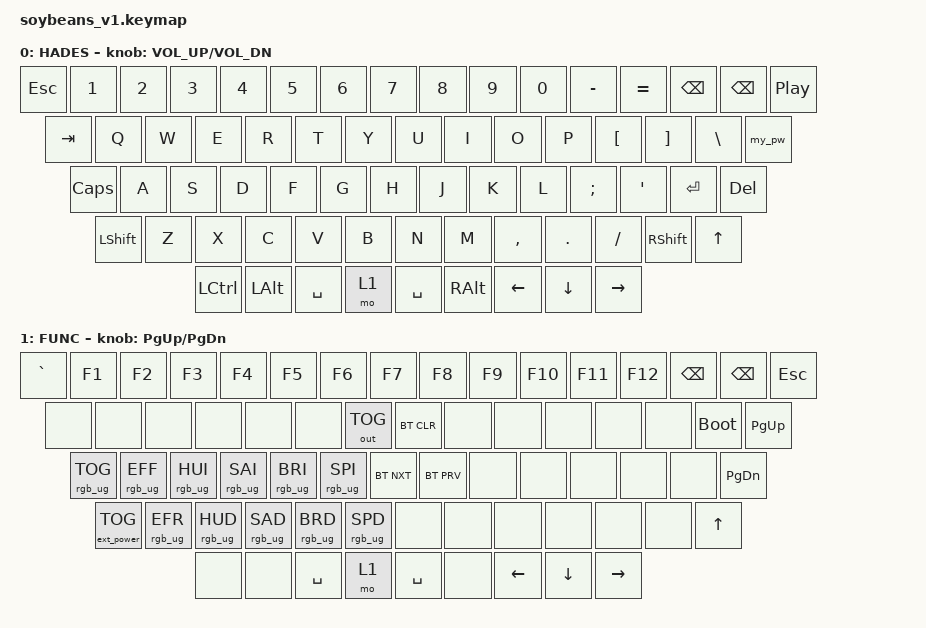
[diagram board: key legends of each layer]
/*
# Copyright (c) 2021 The ZMK Contributors
*
* SPDX-License-Identifier: MIT
*/

#include <behaviors.dtsi>
#include <dt-bindings/zmk/keys.h>
#include <dt-bindings/zmk/rgb.h>
#include <dt-bindings/zmk/bt.h>
#include <dt-bindings/zmk/outputs.h>
#include <dt-bindings/zmk/ext_power.h>

/ {
    macros {
        my_pw: my_pw {
            label = "My_password";
            compatible = "zmk,behavior-macro";
            #binding-cells = <0>;
            bindings
                = <&macro_press &kp LSHFT>
                , <&macro_tap &kp T>
                , <&macro_release &kp LSHFT>
                , <&macro_tap &kp U>
                , <&macro_tap &kp M>
                , <&macro_tap &kp O>
                , <&macro_tap &kp T>
                , <&macro_tap &kp D>
                , <&macro_tap &kp E>
                , <&macro_tap &kp N>
                , <&macro_tap &kp N1>
                , <&macro_tap &kp N1>
                , <&macro_tap &kp ENTER>
                ;
        };
    };

	keymap {
		compatible = "zmk,keymap";

		default_layer {
            label = " HADES";
			bindings = <
               	&kp ESC &kp N1 &kp N2 &kp N3 &kp N4 &kp N5 &kp N6           &kp N7 &kp N8 &kp N9 &kp N0 &kp MINUS &kp EQUAL  &kp BSPC  &kp BSPC   &kp C_PLAY_PAUSE
			     &kp TAB     &kp Q   &kp W  &kp E  &kp R  &kp T                &kp Y   &kp U  &kp I  &kp O  &kp P   &kp LBKT  &kp RBKT  &kp BSLH       &my_pw
			     &kp CAPS      &kp A  &kp S  &kp D  &kp F  &kp G               &kp H    &kp J  &kp K  &kp L  &kp SEMI   &kp APOS     &kp ENTER           &kp DEL
			     &kp LSHIFT      &kp Z  &kp X  &kp C  &kp V  &kp B             &kp N     &kp M  &kp COMMA  &kp PERIOD  &kp SLASH  &kp RSHIFT    &kp UP 
			     &kp LCTRL      &kp LALT      &kp SPACE    &mo 1                  &kp SPACE       &kp RALT                           &kp LEFT   &kp DOWN   &kp RIGHT
			>;
            sensor-bindings = <&inc_dec_kp C_VOL_UP C_VOL_DN>;
		};
		function_layer {
            label = " FUNC";
			bindings = <
               	&kp GRAVE  &kp F1   &kp F2   &kp F3   &kp F4   &kp F5   &kp F6                                            &kp F7 &kp F8 &kp F9  &kp F10  &kp F11  &kp F12  &kp BSPC  &kp BSPC    &kp ESC
			     &none          &none    &none    &none    &none    &none                                                 &out OUT_TOG  &bt BT_CLR &none &none &none  &none  &none &bootloader    &kp PG_UP
			     &rgb_ug RGB_TOG &rgb_ug RGB_EFF &rgb_ug RGB_HUI &rgb_ug RGB_SAI &rgb_ug RGB_BRI &rgb_ug RGB_SPI          &bt BT_NXT   &bt BT_PRV   &none  &none  &none   &none  &none              &kp PG_DN
			     &ext_power EP_TOG &rgb_ug RGB_EFR &rgb_ug RGB_HUD &rgb_ug RGB_SAD &rgb_ug RGB_BRD &rgb_ug RGB_SPD        &none  &none  &none    &none   &none &none    &kp UP 
			     &none                    &none                             &kp SPACE                 &mo 1                  &kp SPACE         &none         &kp LEFT   &kp DOWN   &kp RIGHT
			>;
            sensor-bindings = <&inc_dec_kp PG_UP PG_DN>;
		};
	};
};
